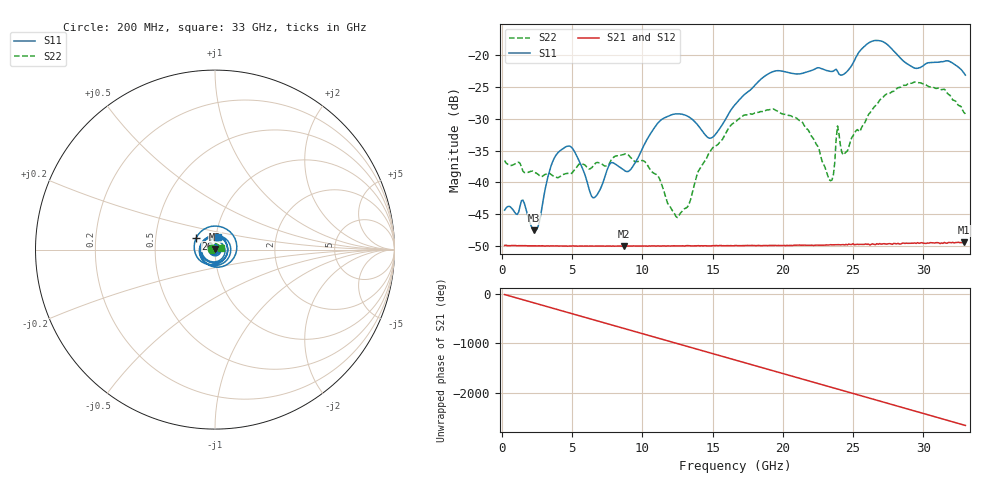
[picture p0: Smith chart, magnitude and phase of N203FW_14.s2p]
# GHZ S RI R 50
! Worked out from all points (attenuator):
!   329 points, 200 MHz to 33 GHz, reference 50 ohm
!   highest |S21| = -49.45 dB at 32.9 GHz (marker M1); lowest = -50.1 dB at 8.7 GHz (marker M2)
!   lowest |S11| = -47.6 dB at 2.3 GHz (marker M3), VSWR 1.01, Z = 50.1 + j0.395 ohm
!   |S11| at or under -10 dB: start of sweep to end of sweep
!   |S22| runs from -45.6 to -24.2 dB; largest |S21 - S12| = 8.8e-05
!   S11 on the Smith chart (normalised r, x): 200 MHz: 1.01, +0.00; 26 GHz: 0.80, +0.10; 33 GHz: 1.03, +0.14
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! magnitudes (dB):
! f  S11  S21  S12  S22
! 200 MHz  -44.4  -50.0  -49.9  -36.6
! 1.5 GHz  -42.8  -50.0  -50.0  -38.2
! 2.3 GHz  -47.6  -50.0  -50.0  -38.4
! 3.9 GHz  -35.6  -50.0  -50.0  -39.2
! 5.7 GHz  -37.6  -50.1  -50.0  -37.1
! 6.5 GHz  -42.4  -50.1  -50.0  -37.4
! 7.7 GHz  -37.1  -50.0  -50.0  -36.8
! 8.7 GHz  -38.1  -50.1  -50.1  -35.6
! 11.2 GHz  -30.4  -50.1  -50.0  -39.3
! 12.5 GHz  -29.2  -50.1  -50.0  -45.6
! 14.9 GHz  -33.0  -50.0  -50.0  -34.9
! 16.6 GHz  -27.8  -50.0  -50.0  -30.5
! 19.3 GHz  -22.5  -49.9  -49.9  -28.4
! 22.1 GHz  -22.3  -49.9  -49.9  -32.9
! 23.4 GHz  -22.5  -49.8  -49.9  -39.7
! 23.9 GHz  -22.5  -49.9  -49.9  -31.1
! 24.3 GHz  -23.0  -49.8  -49.8  -35.7
! 26 GHz  -18.2  -49.8  -49.7  -29.7
! 27.6 GHz  -18.6  -49.7  -49.7  -26.0
! 29.8 GHz  -21.9  -49.6  -49.7  -24.3
! 32.9 GHz  -22.8  -49.4  -49.4  -29.0
! 33 GHz  -23.1  -49.5  -49.5  -29.2
